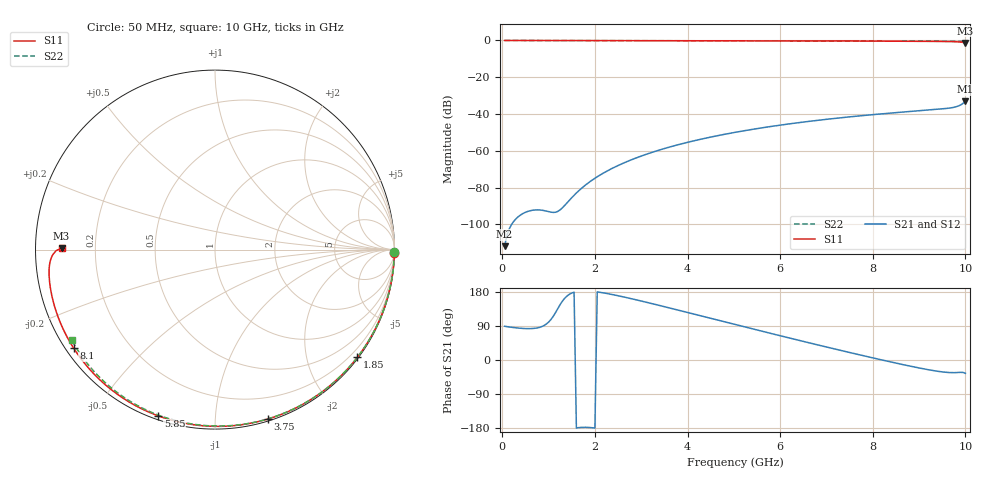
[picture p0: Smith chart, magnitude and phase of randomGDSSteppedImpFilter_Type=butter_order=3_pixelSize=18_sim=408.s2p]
! freq	dB(S11)	phase(S11)	dB(S12)	phase(S12)
!  dB(S21)	phase(S21)	dB(S22)	phase(S22)
!S-par simulation data
#  GHz  S  DB  R 50
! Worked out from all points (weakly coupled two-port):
!   200 points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, 50 MHz to 10 GHz, reference 50 ohm
!   highest |S21| = -33.02 dB at 10 GHz (marker M1); lowest = -111.8 dB at 50 MHz (marker M2)
!   lowest |S11| = -1.4 dB at 10 GHz (marker M3), VSWR 12.77, Z = 3.91 + j0.244 ohm
!   |S11| at or under -10 dB: nowhere
!   |S22| runs from -0.5 to 0.0 dB; largest |S21 - S12| = 0
!   S11 on the Smith chart (normalised r, x): 50 MHz: open; 1.85 GHz: 0.03, -2.98; 3.75 GHz: 0.02, -1.36; 5.85 GHz: 0.02, -0.72; 8.1 GHz: 0.02, -0.31; 10 GHz: 0.08, +0.00
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0.05  -0.00 -1.0  -111.81 89.0  -111.81 89.0  -0.00 -0.9
0.85  -0.02 -17.3  -92.24 88.0  -92.24 88.0  -0.02 -14.5
1.7  -0.04 -34.2  -80.59 -177.9  -80.59 -177.9  -0.04 -28.8
1.75  -0.04 -35.1  -79.52 -177.6  -79.52 -177.6  -0.04 -29.6
1.85  -0.05 -37.1  -77.54 -177.8  -77.54 -177.8  -0.04 -31.3
2.15  -0.05 -42.9  -72.56 177.8  -72.56 177.8  -0.05 -36.2
2.5  -0.06 -49.6  -67.97 169.6  -67.97 169.6  -0.05 -41.9
2.9  -0.07 -57.2  -63.76 158.6  -63.76 158.6  -0.06 -48.3
3.4  -0.09 -66.4  -59.50 143.8  -59.50 143.8  -0.07 -56.2
3.75  -0.10 -72.8  -56.98 133.1  -56.98 133.1  -0.08 -61.7
4.4  -0.12 -84.3  -53.05 113.1  -53.05 113.1  -0.10 -71.5
5.05  -0.15 -95.4  -49.83 93.0  -49.83 93.0  -0.12 -81.1
5.85  -0.19 -108.8  -46.57 68.6  -46.57 68.6  -0.16 -92.5
6.7  -0.24 -122.6  -43.74 43.1  -43.74 43.1  -0.20 -104.3
7.4  -0.29 -133.9  -41.78 22.6  -41.78 22.6  -0.25 -113.7
8.1  -0.35 -145.1  -40.09 2.8  -40.09 2.8  -0.30 -123.0
8.35  -0.38 -149.2  -39.55 -4.1  -39.55 -4.1  -0.32 -126.2
9.1  -0.47 -161.8  -38.04 -23.4  -38.04 -23.4  -0.40 -136.0
9.7  -0.62 -173.2  -36.58 -33.3  -36.58 -33.3  -0.46 -143.9
9.85  -0.77 -176.9  -35.61 -32.9  -35.61 -32.9  -0.48 -145.8
9.95  -1.06 -179.6  -34.17 -32.9  -34.17 -32.9  -0.49 -147.1
10  -1.36 179.4  -33.02 -35.1  -33.02 -35.1  -0.50 -147.8
